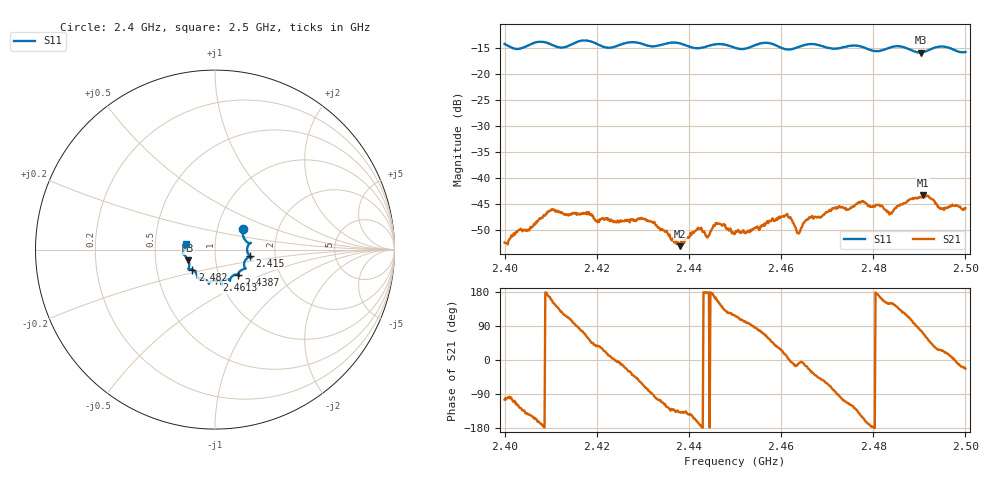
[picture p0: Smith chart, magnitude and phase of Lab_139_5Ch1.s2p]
# Hz S RI R 50
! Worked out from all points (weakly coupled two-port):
!   601 points, 2.4 GHz to 2.5 GHz, reference 50 ohm
!   highest |S21| = -43.29 dB at 2.4908 GHz (marker M1); lowest = -53.0 dB at 2.438 GHz (marker M2)
!   lowest |S11| = -15.9 dB at 2.4903 GHz (marker M3), VSWR 1.38, Z = 36.8 - j4.45 ohm
!   |S11| at or under -10 dB: start of sweep to end of sweep
!   S12 and S22 are empty: the file has one direction only
!   S11 on the Smith chart (normalised r, x): 2.4 GHz: 1.33, +0.31; 2.415 GHz: 1.47, -0.11; 2.4387 GHz: 1.24, -0.36; 2.4613 GHz: 0.96, -0.34; 2.482 GHz: 0.76, -0.17; 2.5 GHz: 0.72, +0.05
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2.4e9  0.1576 0.1125  -0.000603 -0.00233  0 0  0 0
2.409833e9  0.1911 0.0324  -0.00474 0.00118  0 0  0 0
2.415e9  0.1927 -0.0363  -0.000558 0.0046  0 0  0 0
2.416667e9  0.2035 -0.0442  0.00103 0.00445  0 0  0 0
2.430167e9  0.1579 -0.1094  0.00156 -0.00378  0 0  0 0
2.433333e9  0.1324 -0.1318  -0.000886 -0.00322  0 0  0 0
2.438e9  0.1334 -0.1442  -0.00166 -0.00149  0 0  0 0
2.438667e9  0.1304 -0.1415  -0.00169 -0.00156  0 0  0 0
2.442167e9  0.0975 -0.1467  -0.00317 -0.000687  0 0  0 0
2.444167e9  0.0848 -0.1647  -0.00275 7.7e-05  0 0  0 0
2.446333e9  0.0838 -0.1742  -0.00332 0.00155  0 0  0 0
2.45e9  0.0686 -0.1646  -0.00132 0.0026  0 0  0 0
2.461333e9  0.00825 -0.1712  0.0045 0.000634  0 0  0 0
2.463667e9  -0.0237 -0.1789  0.00292 -0.00054  0 0  0 0
2.466667e9  -0.0345 -0.1902  0.0036 -0.00238  0 0  0 0
2.477333e9  -0.0971 -0.1553  -0.00492 -0.00323  0 0  0 0
2.482e9  -0.1263 -0.1119  -0.00504 0.00184  0 0  0 0
2.483333e9  -0.1398 -0.1088  -0.00408 0.00247  0 0  0 0
2.490333e9  -0.1491 -0.0589  0.00147 0.00638  0 0  0 0
2.490833e9  -0.1532 -0.0513  0.00236 0.00643  0 0  0 0
2.494833e9  -0.1821 -0.0201  0.00468 0.00212  0 0  0 0
2.5e9  -0.1589 0.0323  0.00474 -0.00199  0 0  0 0
